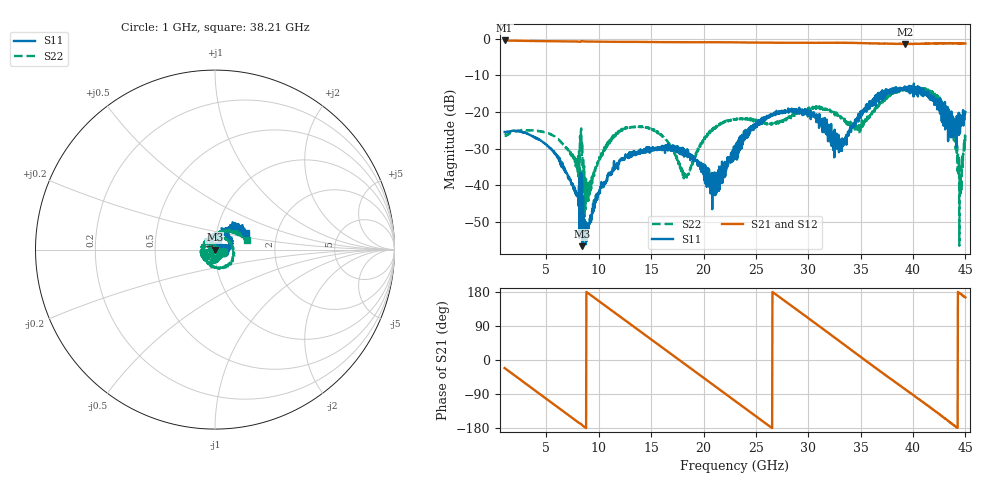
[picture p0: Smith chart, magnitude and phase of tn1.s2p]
!Keysight Technologies,N5247B,MY61255062,A.19.80.06
!Date: Tuesday, May 26, 2026 11:06:55
!Correction: S11(C  2-Port  )
!S21(C  2-Port  )
!S12(C  2-Port  )
!S22(C  2-Port  )
!S2P File: Measurements: S11, S21, S12, S22:
# Hz S  dB  R 50
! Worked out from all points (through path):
!   1601 points, 1 GHz to 45 GHz, reference 50 ohm
!   highest |S21| = -0.48 dB at 1 GHz (marker M1); lowest = -1.5 dB at 39.23 GHz (marker M2)
!   group delay of S21, straight-line fit = 56.3 ps
!   lowest |S11| = -56.6 dB at 8.425 GHz (marker M3), VSWR 1.00, Z = 49.9 + j0.0338 ohm
!   |S11| at or under -10 dB: start of sweep to end of sweep
!   |S22| runs from -56.5 to -13.0 dB; largest |S21 - S12| = 0.014
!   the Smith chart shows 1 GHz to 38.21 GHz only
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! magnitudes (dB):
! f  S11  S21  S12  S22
! 1 GHz  -25.4  -0.5  -0.5  -26.3
! 5.455 GHz  -30.2  -0.7  -0.7  -26.1
! 7.93 GHz  -42.3  -0.8  -0.8  -32.8
! 8.342 GHz  -44.1  -0.6  -0.6  -28.5
! 8.425 GHz  -56.6  -0.7  -0.7  -29.9
! 8.865 GHz  -51.0  -0.8  -0.8  -38.7
! 10.1 GHz  -42.1  -0.8  -0.8  -33.0
! 11.89 GHz  -33.6  -0.9  -0.9  -25.6
! 15.69 GHz  -29.6  -0.9  -0.9  -25.9
! 18.32 GHz  -31.2  -1.0  -1.0  -37.4
! 20.88 GHz  -37.7  -1.0  -1.0  -24.4
! 23 GHz  -31.7  -1.0  -1.0  -22.1
! 26.6 GHz  -20.6  -1.1  -1.1  -23.0
! 30.34 GHz  -20.2  -1.1  -1.1  -18.9
! 33.15 GHz  -27.9  -1.1  -1.1  -21.7
! 34.83 GHz  -22.2  -1.2  -1.2  -23.7
! 37.69 GHz  -14.6  -1.3  -1.3  -15.3
! 39.23 GHz  -13.0  -1.5  -1.4  -13.2
! 43.02 GHz  -20.2  -1.2  -1.3  -18.5
! 43.82 GHz  -22.1  -1.2  -1.2  -24.6
! 44.53 GHz  -22.2  -1.4  -1.3  -42.3
! 45 GHz  -19.9  -1.3  -1.3  -29.0
